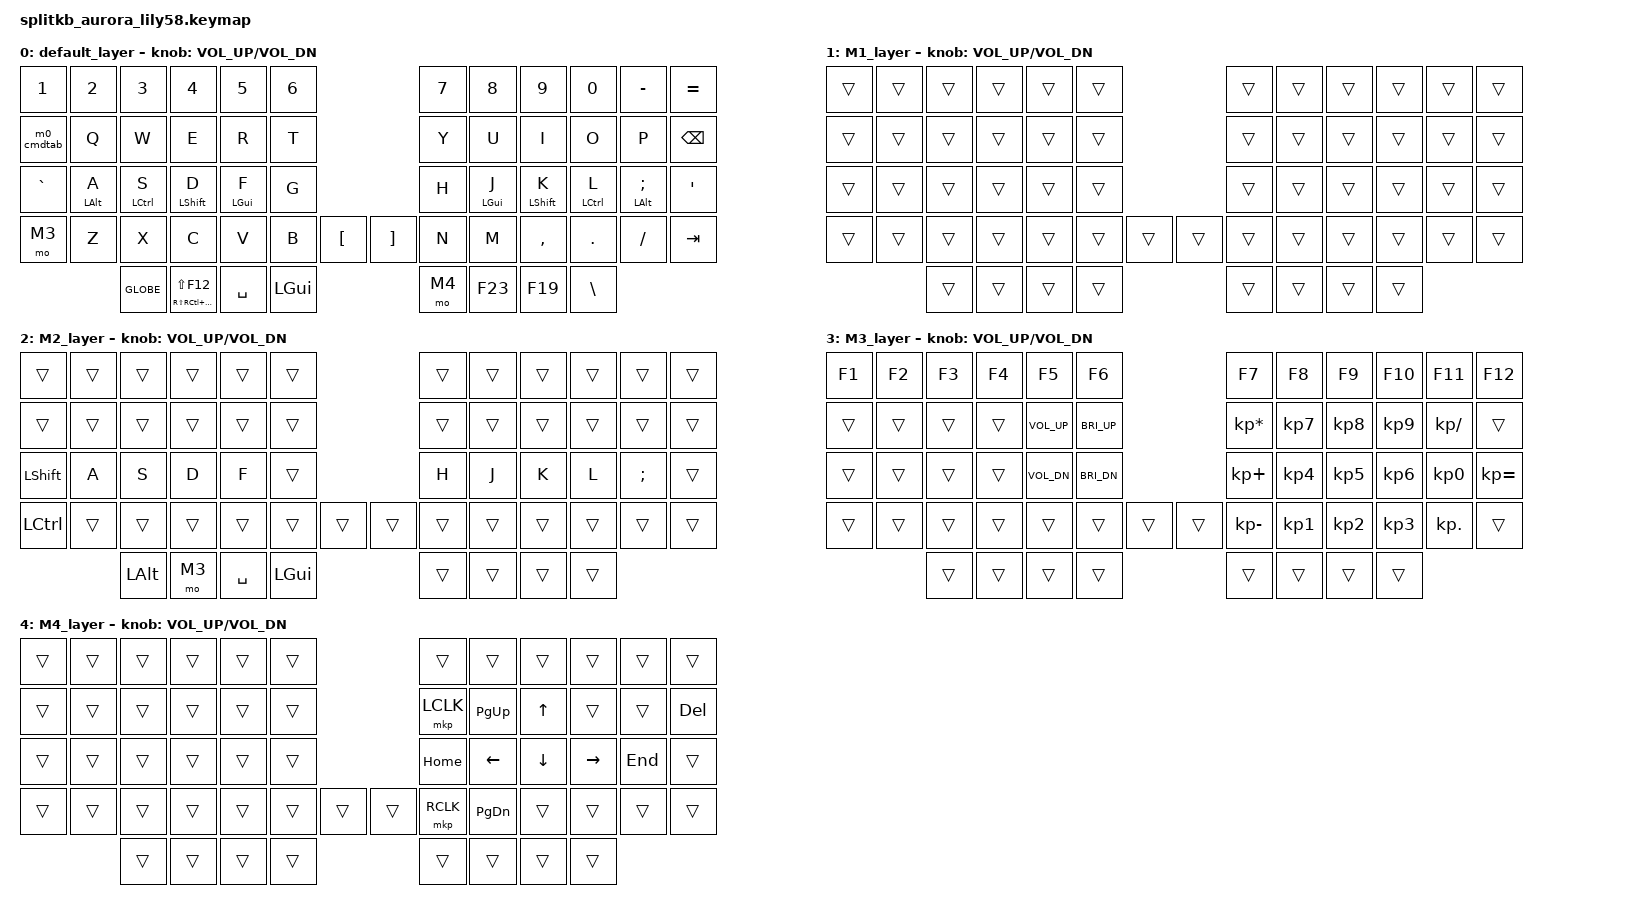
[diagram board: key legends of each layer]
#include <behaviors.dtsi>
#include <dt-bindings/zmk/keys.h>
#include <dt-bindings/zmk/bt.h>
#include <dt-bindings/zmk/ext_power.h>
#include <dt-bindings/zmk/outputs.h>
#include <dt-bindings/zmk/rgb.h>
#include <dt-bindings/zmk/mouse.h>

#define QUICK_TAP_MS 250

#include "zmk-helpers/helper.h"
/* use helper macros to define left and right hand keys */
#include "zmk-helpers/key-labels/lily58.h"                                  // key-position labels
/*                                             58 KEY MATRIX / LAYOUT MAPPING
  ╭────────────────────────────┬────────────────────────────╮ ╭─────────────────────────────┬─────────────────────────────╮
  │  0   1   2   3   4   5     │      6   7   8   9  10  11 │ │ LT5 LT4 LT3 LT2 LT1 LT0     │     RT0 RT1 RT2 RT3 RT4 RT5 │
  │ 12  13  14  15  16  17     │     18  19  20  21  22  23 │ │ LM5 LM4 LM3 LM2 LM1 LM0     │     RM0 RM1 RM2 RM3 RM4 RM5 │
  │ 24  25  26  27  28  29     │     30  31  32  33  34  35 │ │ LB5 LB4 LB3 LB2 LB1 LB0     │     RB0 RB1 RB2 RB3 RB4 RB5 │
  │ 36  37  38  39  40  41  42 │ 43  44  45  46  47  48  49 │ │ LF5 LF4 LF3 LF2 LF1 LF0 LEC │ REC RF0 RF1 RF2 RF3 RF4 RF5 │
  ╰───────────╮ 50  51  52  53 │ 54  55  56  57 ╭───────────╯ ╰───────────╮ LH3 LH2 LH1 LH0 │ RH0 RH1 RH2 RH3 ╭───────────╯
              ╰────────────────┴────────────────╯                         ╰─────────────────┴─────────────────╯             */

#define KEYS_L LT5 LT4 LT3 LT2 LT1 LT0 LM4 LM3 LM2 LM1 LM0 LB5 LB4 LB3 LB2 LB1 LB0 LF5 LF4 LF3 LF2 LF1 LF0 LEC       // left-hand keys
#define KEYS_R RT0 RT1 RT2 RT3 RT4 RT5 RM0 RM1 RM2 RM3 RM4 RM5 RB0 RB1 RB2 RB3 RB4 RB5 REC RF0 RF1 RF2 RF3 RF4 RF5   // right-hand keys
#define KEYS_B LH1 RH3 LM5 LH2                                                                                       // both keys

#define MAKE_HRM(NAME, HOLD, TAP, TRIGGER_POS) \
    ZMK_HOLD_TAP(NAME, \
        flavor = "balanced"; \
        tapping-term-ms = <280>; \
        quick-tap-ms = <QUICK_TAP_MS>; \
        require-prior-idle-ms = <150>; \
        bindings = <HOLD>, <TAP>; \
        hold-trigger-key-positions = <TRIGGER_POS>; \
        hold-trigger-on-release; \
    )
MAKE_HRM(hml, &kp, &kp, KEYS_R KEYS_B)  // left-hand HRMs
MAKE_HRM(hmr, &kp, &kp, KEYS_L KEYS_B)  // right-hand HRMs

// timeout for tap-dance
#define TD_TIMEOUT         150
#define TD_TIMEOUT_LONG    300

#define BASE 0
#define M1   1
#define M2   2
#define M3   3
#define M4   4

#define FX_21 F21 RGB_COLOR_HSB(321,58,100)
#define HYPER RS(RC(RA(RGUI)))

/ {
    behaviors {
        hyp_f: hyp_f {
            compatible = "zmk,behavior-hold-tap";
            #binding-cells = <2>;
            flavor = "hold-preferred";
            tapping-term-ms = <1000>;
            bindings = <&kp>, <&kp>;
        };
        m0_cmdtab: m0_cmdtab {
            compatible = "zmk,behavior-mod-morph";
            label = "m0_cmdtab";
            #binding-cells = <0>;
            bindings = <&mt F20 ESC>, <&kp TAB>;
            mods = <(MOD_LGUI)>;
            keep-mods = <(MOD_LGUI)>;
        };
        m3_grave_bslh: m3_grave_bslh {
            compatible = "zmk,behavior-mod-morph";
            label = "m3_grave_bslh";
            #binding-cells = <0>;
            bindings = <&lt M3 BSLH>, <&kp GRAVE>;
            mods = <(MOD_LGUI)>;
            keep-mods = <(MOD_LGUI)>;
        };
        td_F22_M3: td_F22_M3 {
            compatible = "zmk,behavior-tap-dance";
            label = "td_F22_M3";
            #binding-cells = <0>;
            tapping-term-ms = <TD_TIMEOUT_LONG>;
            bindings = <&kp F22>, <&mo M3>;
        };
    };

    macros {
      fx: fx {
          compatible = "zmk,behavior-macro-two-param";
          wait-ms = <0>;
          tap-ms = <0>;
          #binding-cells = <2>;
          bindings
              = <&macro_param_1to1>
              , <&macro_press &kp MACRO_PLACEHOLDER>
              , <&macro_param_2to1>
              , <&macro_tap &rgb_ug MACRO_PLACEHOLDER>
              , <&macro_tap &rgb_ug RGB_ON>
              , <&macro_pause_for_release>
              , <&macro_param_1to1>
              , <&macro_release &kp MACRO_PLACEHOLDER>
              , <&macro_tap &rgb_ug RGB_OFF>
              ;
      };
      fx_21: fx_21 {
        compatible = "zmk,behavior-macro";
        #binding-cells = <0>;
        bindings
            = <&macro_press &kp F21>
            , <&macro_tap &rgb_ug RGB_COLOR_HSB(321,58,100)>
            , <&macro_tap &rgb_ug RGB_ON>
            , <&macro_pause_for_release>
            , <&macro_release &kp F21>
            , <&macro_tap &rgb_ug RGB_OFF>
            ;
      };
    };
    combos {
        compatible = "zmk,combos";

        combo_out_tog {
            timeout-ms = <50>;
            key-positions = <37 53>;
            bindings = <&out OUT_TOG>;
        };
        // BT combos
        combo_bt_sel_0 {
            timeout-ms = <50>;
            key-positions = <38 53>; // Lower + 6
            bindings = <&bt BT_SEL 0>;
        };
        combo_bt_sel_1 {
            timeout-ms = <50>;
            key-positions = <39 53>; // Lower + 7
            bindings = <&bt BT_SEL 1>;
        };
        combo_bt_clr {
            timeout-ms = <50>;
            key-positions = <51 53>; // Lower + LGUI
            bindings = <&bt BT_CLR>;
        };

        // Media combos
        combo_play_pause {
            timeout-ms = <50>;
            key-positions = <4 5>;
            bindings = <&kp C_PP>;
        };
        combo_media_next {
            timeout-ms = <50>;
            key-positions = <5 17>;
            bindings = <&kp C_NEXT>;
        };
        combo_media_prev {
            timeout-ms = <50>;
            key-positions = <17 29>;
            bindings = <&kp C_PREV>;
        };

        // TAB
        combo_tab {
            timeout-ms = <50>;
            key-positions = <28 14>;
            layers = <BASE>;
            require-prior-idle-ms = <100>;
            bindings = <&kp TAB>;
        };
        // CAPS
        combo_caps {
            timeout-ms = <50>;
            key-positions = <28 29>;
            bindings = <&kp CAPS>;
        };
        // Enter
        combo_enter {
            timeout-ms = <50>;
            key-positions = <20 31>;
            require-prior-idle-ms = <100>;
            bindings = <&kp RET>;
        };
        // Game-mode
        combo_game {
            timeout-ms = <50>;
            key-positions = <0 1>;
            bindings = <&tog M2>;
        };
    };

    keymap {
        compatible = "zmk,keymap";

        default_layer {
            bindings = <
                &kp N1      &kp N2       &kp N3       &kp N4               &kp N5       &kp N6                           &kp N7      &kp N8       &kp N9       &kp N0       &kp MINUS      &kp EQUAL
                &m0_cmdtab  &kp Q        &kp W        &kp E                &kp R        &kp T                            &kp Y       &kp U        &kp I        &kp O        &kp P          &kp BSPC
                &kp GRAVE   &hml LALT A  &hml LCTRL S &hml LSHFT D         &hml LGUI F  &kp G                            &kp H       &hmr LGUI J  &hmr LSHFT K &hmr LCTRL L &hmr LALT SEMI &kp APOS
                &mo M3      &kp Z        &kp X        &kp C                &kp V        &kp B      &kp LBKT    &kp RBKT  &kp N       &kp M        &kp COMMA    &kp DOT      &kp FSLH       &kp TAB
                                         &kp GLOBE    &hyp_f HYPER LS(F12) &kp SPACE    &kp LGUI                      &mo M4       &kp F23      &kp F19      &kp BSLH
            >;
            sensor-bindings = <&inc_dec_kp C_VOL_UP C_VOL_DN>;
        };

        M1_layer {
            bindings = <
                &trans  &trans  &trans  &trans  &trans  &trans                                 &trans   &trans  &trans    &trans  &trans    &trans
                &trans  &trans  &trans  &trans  &trans  &trans                                 &trans   &trans  &trans    &trans  &trans    &trans
                &trans  &trans  &trans  &trans  &trans  &trans                                 &trans   &trans  &trans    &trans  &trans    &trans
                &trans  &trans  &trans  &trans  &trans  &trans     &trans           &trans     &trans   &trans  &trans    &trans  &trans    &trans
                                        &trans  &trans  &trans     &trans           &trans     &trans   &trans  &trans
            >;
            sensor-bindings = <&inc_dec_kp C_VOL_UP C_VOL_DN>;
        };

        // Game-mode
        M2_layer {
            bindings = <
                &trans     &trans  &trans   &trans  &trans     &trans                                 &trans   &trans   &trans     &trans    &trans      &trans
                &trans     &trans  &trans   &trans  &trans     &trans                                 &trans   &trans   &trans     &trans    &trans      &trans
                &kp LSHFT  &kp A   &kp S    &kp D   &kp F      &trans                                 &kp H    &kp J    &kp K      &kp L     &kp SEMI    &trans
                &kp LCTRL  &trans  &trans   &trans  &trans     &trans     &trans           &trans     &trans   &trans   &trans     &trans    &trans      &trans
                                    &kp LALT &mo M3  &kp SPACE      &kp LGUI                    &trans       &trans   &trans     &trans
            >;
            sensor-bindings = <&inc_dec_kp C_VOL_UP C_VOL_DN>;
        };

        M3_layer {
            bindings = <
                &kp F1  &kp F2  &kp F3  &kp F4  &kp F5  &kp F6                                 &kp F7           &kp F8     &kp F9     &kp F10    &kp F11       &kp F12
                &trans  &trans  &trans  &trans  &kp C_VOL_UP  &kp C_BRI_UP                     &kp KP_ASTERISK  &kp KP_N7  &kp KP_N8  &kp KP_N9  &kp KP_SLASH  &trans
                &trans  &trans  &trans  &trans  &kp C_VOL_DN  &kp C_BRI_DN                     &kp KP_PLUS      &kp KP_N4  &kp KP_N5  &kp KP_N6  &kp KP_N0     &kp KP_EQUAL
                &trans  &trans  &trans  &trans  &trans  &trans     &trans           &trans     &kp KP_MINUS     &kp KP_N1  &kp KP_N2  &kp KP_N3  &kp KP_DOT    &trans
                                        &trans  &trans  &trans     &trans           &trans     &trans           &trans     &trans
            >;
            sensor-bindings = <&inc_dec_kp C_VOL_UP C_VOL_DN>;
        };

        M4_layer {
            bindings = <
                &trans  &trans  &trans  &trans  &trans  &trans                                 &trans     &trans     &trans    &trans     &trans    &trans
                &trans  &trans  &trans  &trans  &trans  &trans                                 &mkp LCLK  &kp PG_UP  &kp UP    &trans     &trans    &kp DEL
                &trans  &trans  &trans  &trans  &trans  &trans                                 &kp HOME   &kp LEFT   &kp DOWN  &kp RIGHT  &kp END   &trans
                &trans  &trans  &trans  &trans  &trans  &trans     &trans           &trans     &mkp RCLK  &kp PG_DN  &trans    &trans     &trans    &trans
                                        &trans  &trans  &trans     &trans           &trans     &trans     &trans     &trans
            >;
            sensor-bindings = <&inc_dec_kp C_VOL_UP C_VOL_DN>;
        };
    };
};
